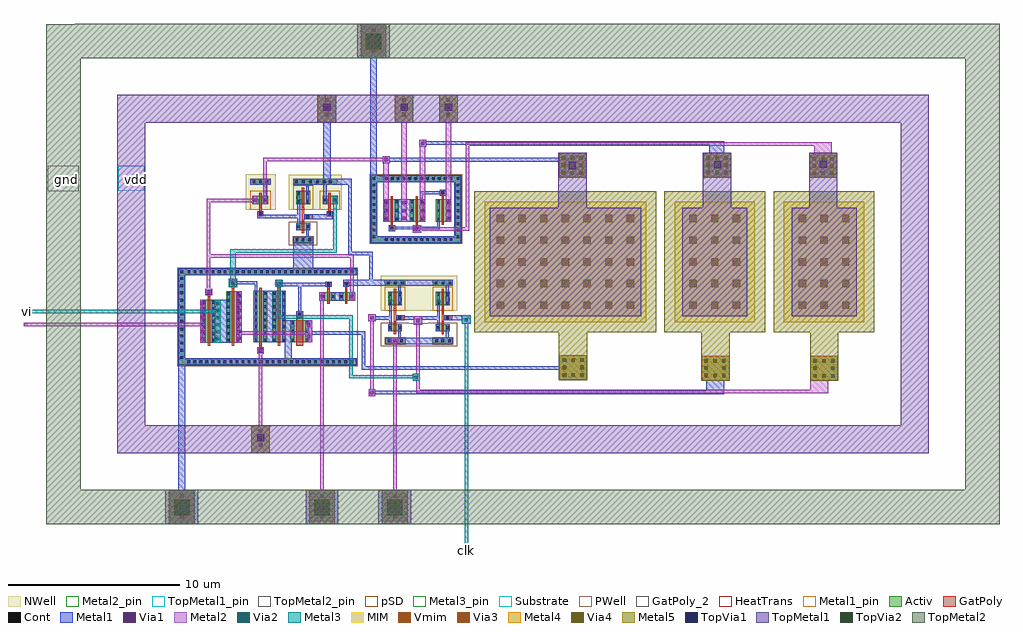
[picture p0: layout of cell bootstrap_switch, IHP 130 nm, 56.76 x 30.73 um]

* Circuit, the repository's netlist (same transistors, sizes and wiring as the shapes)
** sch_path: /home/designer/shared/IHP-AnalogAcademy/modules/module_3_8_bit_SAR_ADC/part_5_analog_layout/bootstrap/schematic/bootstrap_switch.sch
.subckt bootstrap_switch vdd vi vo clk gnd
*.PININFO gnd:B vdd:B vi:B vo:B clk:B
M1 vdd net2 net1 gnd sg13_lv_nmos w=1.3u l=0.13u ng=1 m=1
M3 vdd net1 net2 gnd sg13_lv_nmos w=1.3u l=0.13u ng=1 m=1
M4 net7 net10 net3 net3 sg13_lv_pmos w=500n l=0.13u ng=1 m=1
M2 vdd net2 net3 gnd sg13_lv_nmos w=1.3u l=0.13u ng=1 m=1
M6 net5 gp vdd vdd sg13_lv_pmos w=500n l=130n ng=1 m=1
M5 net5 vdd net4 gnd sg13_lv_nmos w=3u l=0.13u ng=1 m=1
M7 net4 clk_not gnd gnd sg13_lv_nmos w=3u l=0.13u ng=1 m=1
C5 net2 clk_not cap_cmim w=4.665e-6 l=6.99e-6 m=1
C6 net3 net6 cap_cmim w=9.39e-6 l=6.99e-6 m=1
M8 net6 net5 vi gnd sg13_lv_nmos w=3u l=0.13u ng=1 m=1
M9 vo net7 vi gnd sg13_lv_nmos w=2.5u l=0.13u ng=1 m=1
M10 net8 vdd net7 gnd sg13_lv_nmos w=500n l=0.13u ng=1 m=1
M11 gnd clk_not net8 gnd sg13_lv_nmos w=500n l=0.13u ng=1 m=1
M12 net6 clk_not gnd gnd sg13_lv_nmos w=1.3u l=0.4u ng=1 m=1
C1 net1 net9 cap_cmim w=4.665e-6 l=6.99e-6 m=1
x1 vdd clk_not net9 gnd inverter
x2 vdd clk clk_not gnd inverter
x3 vdd gp net10 gnd inverter
.ends

* expanding   symbol:  inverter.sym # of pins=4
** sym_path: /home/designer/shared/IHP-AnalogAcademy/modules/module_3_8_bit_SAR_ADC/part_5_analog_layout/bootstrap/schematic/inverter.sym
** sch_path: /home/designer/shared/IHP-AnalogAcademy/modules/module_3_8_bit_SAR_ADC/part_5_analog_layout/bootstrap/schematic/inverter.sch
.subckt inverter vdd vi vo gnd
*.PININFO vi:B vo:B gnd:B vdd:B
M5 vo vi vdd vdd sg13_lv_pmos w=800n l=130n ng=1 m=1
M7 vo vi gnd gnd sg13_lv_nmos w=400n l=130n ng=1 m=1
.ends

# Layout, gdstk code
from math import pi, radians
import gdstk
lib = gdstk.Library(unit=1e-6, precision=1e-09)
def R(c, l, rs):  # rectangles x0, y0, x1, y1
    for r in rs: c.add(gdstk.rectangle(r[:2], r[2:], *l))
def A(c, l, x, y, w, h, nx, ny, dx, dy):  # array of equal rectangles
    R(c, l, [(x+i*dx, y+j*dy, x+i*dx+w, y+j*dy+h) for i in range(nx) for j in range(ny)])
Activ = (1, 0)
GatPoly = (5, 0)
GatPoly_2 = (5, 2)
Cont = (6, 0)
Metal1 = (8, 0)
Metal1_pin = (8, 2)
Metal2 = (10, 0)
Metal2_pin = (10, 2)
pSD = (14, 0)
Via1 = (19, 0)
Via2 = (29, 0)
Metal3 = (30, 0)
Metal3_pin = (30, 2)
NWell = (31, 0)
MIM = (36, 0)
Substrate = (40, 0)
PWell = (46, 0)
Via3 = (49, 0)
Metal4 = (50, 0)
HeatTrans = (51, 0)
Via4 = (66, 0)
Metal5 = (67, 0)
TopVia1 = (125, 0)
TopMetal1 = (126, 0)
TopMetal1_pin = (126, 2)
Vmim = (129, 0)
TopVia2 = (133, 0)
TopMetal2 = (134, 0)
TopMetal2_pin = (134, 2)

nmos_2 = lib.new_cell('nmos$2')
R(nmos_2, Activ, [(0,0,0.3,0.3), (0,0,0.81,1.3), (0.51,0,0.81,0.3)])
R(nmos_2, GatPoly, [(0.34,-0.18,0.47,1.48)])
R(nmos_2, GatPoly_2, [(0.34,-0.18,0.47,1.48)])
A(nmos_2, Cont, 0.07, 0.07, 0.16, 0.16, 1, 3, 0, 0.5)
A(nmos_2, Cont, 0.58, 0.07, 0.16, 0.16, 1, 3, 0, 0.5)
R(nmos_2, Metal1, [(0.07,0,0.23,1.3), (0.58,0,0.74,1.3)])
R(nmos_2, Metal1_pin, [(0.07,0,0.23,1.3), (0.58,0,0.74,1.3)])
R(nmos_2, HeatTrans, [(0.34,-0.18,0.47,1.48)])
nmos_2.add(gdstk.Label('nmos', (0.405,0.65), layer=63, texttype=0))
nmos_2.add(gdstk.Label('nmos', (0.405,0.65), layer=51, texttype=0))

cmim_1 = lib.new_cell('cmim$1')
R(cmim_1, MIM, [(0,0,4.665,6.99)])
R(cmim_1, Metal5, [(-0.6,-0.6,5.265,7.59)])
R(cmim_1, TopMetal1, [(0.44,0.345,4.22,6.645)])
A(cmim_1, Vmim, 0.86, 0.765, 0.42, 0.42, 3, 5, 1.26, 1.26)

cmim = lib.new_cell('cmim')
R(cmim, MIM, [(0,0,9.39,6.99)])
R(cmim, Metal5, [(-0.6,-0.6,9.99,7.59)])
R(cmim, TopMetal1, [(0.285,0.345,9.105,6.645)])
A(cmim, Vmim, 0.705, 0.765, 0.42, 0.42, 7, 5, 1.26, 1.26)

pmos_3 = lib.new_cell('pmos$3')
R(pmos_3, Activ, [(0,0,0.3,0.3), (0,0,0.81,0.5), (0.51,0,0.81,0.3)])
R(pmos_3, GatPoly, [(0.34,-0.18,0.47,0.68), (0.34,-0.18,0.47,0.68)])
R(pmos_3, Cont, [(0.07,0.17,0.23,0.33), (0.58,0.17,0.74,0.33)])
R(pmos_3, Metal1, [(0.07,0,0.23,0.5), (0.07,0,0.23,0.5), (0.58,0,0.74,0.5), (0.58,0,0.74,0.5)])
R(pmos_3, pSD, [(-0.18,-0.3,0.99,0.8)])
R(pmos_3, NWell, [(-0.31,-0.31,1.12,0.81)])
R(pmos_3, Substrate, [(0.51,0,0.81,0.3)])
R(pmos_3, HeatTrans, [(0.34,-0.18,0.47,0.68)])
pmos_3.add(gdstk.Label('pmos', (0.405,0.25), layer=63, texttype=0))
pmos_3.add(gdstk.Label('pmos', (0.405,0.25), layer=51, texttype=0))

pmos_2 = lib.new_cell('pmos$2')
R(pmos_2, Activ, [(0,0,0.3,0.3), (0,0,0.81,0.5), (0.51,0,0.81,0.3)])
R(pmos_2, GatPoly, [(0.34,-0.18,0.47,0.68), (0.34,-0.18,0.47,0.68)])
R(pmos_2, Cont, [(0.07,0.17,0.23,0.33), (0.58,0.17,0.74,0.33)])
R(pmos_2, Metal1, [(0.07,0,0.23,0.5), (0.07,0,0.23,0.5), (0.58,0,0.74,0.5), (0.58,0,0.74,0.5)])
R(pmos_2, pSD, [(-0.18,-0.3,0.99,0.8)])
R(pmos_2, NWell, [(-0.31,-0.31,1.12,0.81)])
R(pmos_2, Substrate, [(0.51,0,0.81,0.3)])
R(pmos_2, HeatTrans, [(0.34,-0.18,0.47,0.68)])
pmos_2.add(gdstk.Label('pmos', (0.405,0.25), layer=63, texttype=0))
pmos_2.add(gdstk.Label('pmos', (0.405,0.25), layer=51, texttype=0))

inverter2 = lib.new_cell('inverter2')
R(inverter2, Activ, [(24.315,-15.715,25.48,-15.35), (27.095,-15.715,28.26,-15.35), (24.49,-14.965,24.79,-14.665), (24.49,-14.965,25.3,-14.565), (25,-14.965,25.3,-14.665), (27.27,-14.965,27.57,-14.665), (27.27,-14.965,28.08,-14.565), (27.78,-14.965,28.08,-14.665), (24.49,-13.475,25.3,-12.675), (24.49,-13.475,24.79,-13.175), (25,-13.475,25.3,-13.175), (27.27,-13.475,28.08,-12.675), (27.27,-13.475,27.57,-13.175), (27.78,-13.475,28.08,-13.175), (24.31,-12.34,25.48,-11.985), (27.09,-12.34,28.26,-11.985)])
R(inverter2, GatPoly, [(24.83,-15.145,24.96,-14.385), (24.83,-15.145,24.96,-12.495), (27.61,-15.145,27.74,-14.385), (27.61,-15.145,27.74,-12.495), (24.875,-14.34,25.45,-14.035), (27.655,-14.34,28.23,-14.035), (24.83,-13.655,24.96,-12.495), (24.83,-13.655,24.96,-12.495), (27.61,-13.655,27.74,-12.495), (27.61,-13.655,27.74,-12.495)])
R(inverter2, GatPoly_2, [(24.83,-15.145,24.96,-14.385), (27.61,-15.145,27.74,-14.385)])
R(inverter2, Cont, [(24.46,-15.61,24.62,-15.45), (24.815,-15.61,24.975,-15.45), (25.2,-15.61,25.36,-15.45), (27.24,-15.61,27.4,-15.45), (27.595,-15.61,27.755,-15.45), (27.98,-15.61,28.14,-15.45), (24.56,-14.845,24.72,-14.685), (25.07,-14.845,25.23,-14.685), (27.34,-14.845,27.5,-14.685), (27.85,-14.845,28.01,-14.685), (25.09,-14.27,25.25,-14.11), (27.87,-14.27,28.03,-14.11), (24.56,-13.405,24.72,-13.245), (25.07,-13.405,25.23,-13.245), (27.34,-13.405,27.5,-13.245), (27.85,-13.405,28.01,-13.245), (24.56,-12.905,24.72,-12.745), (25.07,-12.905,25.23,-12.745), (27.34,-12.905,27.5,-12.745), (27.85,-12.905,28.01,-12.745), (24.42,-12.24,24.58,-12.08), (24.825,-12.24,24.985,-12.08), (25.24,-12.24,25.4,-12.08), (27.2,-12.24,27.36,-12.08), (27.605,-12.24,27.765,-12.08), (28.02,-12.24,28.18,-12.08)])
R(inverter2, Metal1, [(24.315,-15.715,25.48,-15.35), (24.36,-15.715,28.245,-15.35), (27.095,-15.715,28.26,-15.35), (25.07,-15.555,25.23,-14.79), (27.85,-15.555,28.01,-14.79), (24.49,-14.965,24.72,-14.565), (24.56,-14.965,24.72,-12.675), (24.56,-14.965,24.72,-14.565), (25.07,-14.965,25.3,-14.565), (25.07,-14.965,25.23,-14.565), (27.27,-14.965,27.5,-14.565), (27.34,-14.965,27.5,-12.675), (27.34,-14.965,27.5,-14.565), (27.85,-14.965,28.08,-14.565), (27.85,-14.965,28.01,-14.565), (24.96,-14.34,25.45,-14.035), (27.74,-14.34,28.23,-14.035), (24.11,-14.29,24.72,-14.09), (25.02,-14.29,27.12,-14.09), (26.89,-14.29,27.5,-14.09), (24.56,-13.475,24.72,-12.675), (24.56,-13.475,24.72,-12.675), (25.07,-13.475,25.23,-12.675), (25.07,-13.475,25.23,-12.675), (27.34,-13.475,27.5,-12.675), (27.34,-13.475,27.5,-12.675), (27.85,-13.475,28.01,-12.675), (27.85,-13.475,28.01,-12.675), (25.07,-12.765,25.23,-11.985), (27.85,-12.765,28.01,-11.985), (24.31,-12.34,25.48,-11.985), (24.31,-12.34,28.26,-11.985), (27.09,-12.34,28.26,-11.985)])
R(inverter2, Metal1_pin, [(24.56,-14.965,24.72,-14.565), (25.07,-14.965,25.23,-14.565), (27.34,-14.965,27.5,-14.565), (27.85,-14.965,28.01,-14.565), (25.24,-12.31,25.465,-12.02), (28.02,-12.31,28.245,-12.02)])
R(inverter2, pSD, [(24.285,-15.75,25.51,-15.32), (27.065,-15.75,28.29,-15.32), (24.31,-13.775,25.48,-12.375), (27.09,-13.775,28.26,-12.375)])
R(inverter2, NWell, [(24.055,-13.785,25.73,-11.74), (24.055,-13.785,28.51,-11.74), (24.18,-13.785,25.61,-12.365), (26.835,-13.785,28.51,-11.74), (26.96,-13.785,28.39,-12.365)])
R(inverter2, Substrate, [(24.49,-13.475,24.79,-13.175), (27.27,-13.475,27.57,-13.175)])
R(inverter2, PWell, [(24.055,-15.845,28.505,-14.495), (24.06,-15.84,25.73,-14.49), (26.84,-15.84,28.51,-14.49)])
R(inverter2, HeatTrans, [(24.83,-15.145,24.96,-14.385), (27.61,-15.145,27.74,-14.385), (24.83,-13.655,24.96,-12.495), (27.61,-13.655,27.74,-12.495)])
inverter2.add(gdstk.Label('pmos', (27.675,-13.075), layer=63, texttype=0))
inverter2.add(gdstk.Label('pmos', (24.895,-13.075), layer=63, texttype=0))
inverter2.add(gdstk.Label('nmos', (27.675,-14.765), layer=63, texttype=0))
inverter2.add(gdstk.Label('nmos', (24.895,-14.765), layer=63, texttype=0))
inverter2.add(gdstk.Label('nmos', (27.675,-14.765), layer=51, texttype=0))
inverter2.add(gdstk.Label('nmos', (24.895,-14.765), layer=51, texttype=0))
inverter2.add(gdstk.Label('pmos', (27.675,-13.075), layer=51, texttype=0))
inverter2.add(gdstk.Label('pmos', (24.895,-13.075), layer=51, texttype=0))

pmos = lib.new_cell('pmos')
R(pmos, Activ, [(-12.815,-10.645,-12.515,-10.345), (-12.815,-10.645,-12.005,-9.845), (-12.305,-10.645,-12.005,-10.345)])
R(pmos, GatPoly, [(-12.475,-10.825,-12.345,-9.665), (-12.475,-10.825,-12.345,-9.665)])
R(pmos, Cont, [(-12.745,-10.575,-12.585,-10.415), (-12.235,-10.575,-12.075,-10.415), (-12.745,-10.075,-12.585,-9.915), (-12.235,-10.075,-12.075,-9.915)])
R(pmos, Metal1, [(-12.745,-10.645,-12.585,-9.845), (-12.745,-10.645,-12.585,-9.845), (-12.235,-10.645,-12.075,-9.845), (-12.235,-10.645,-12.075,-9.845)])
R(pmos, pSD, [(-12.995,-10.945,-11.825,-9.545)])
R(pmos, NWell, [(-13.125,-10.955,-11.695,-9.535)])
R(pmos, Substrate, [(-12.815,-10.645,-12.515,-10.345)])
R(pmos, HeatTrans, [(-12.475,-10.825,-12.345,-9.665)])
pmos.add(gdstk.Label('pmos', (-12.41,-10.245), layer=63, texttype=0))
pmos.add(gdstk.Label('pmos', (-12.41,-10.245), layer=51, texttype=0))

nmos_1 = lib.new_cell('nmos$1')
R(nmos_1, Activ, [(-12.815,-10.645,-12.515,-10.345), (-12.815,-10.645,-12.005,-10.245), (-12.305,-10.645,-12.005,-10.345)])
R(nmos_1, GatPoly, [(-12.475,-10.825,-12.345,-10.065)])
R(nmos_1, GatPoly_2, [(-12.475,-10.825,-12.345,-10.065)])
R(nmos_1, Cont, [(-12.745,-10.525,-12.585,-10.365), (-12.235,-10.525,-12.075,-10.365)])
R(nmos_1, Metal1, [(-12.745,-10.645,-12.585,-10.245), (-12.235,-10.645,-12.075,-10.245)])
R(nmos_1, Metal1_pin, [(-12.745,-10.645,-12.585,-10.245), (-12.235,-10.645,-12.075,-10.245)])
R(nmos_1, HeatTrans, [(-12.475,-10.825,-12.345,-10.065)])
nmos_1.add(gdstk.Label('nmos', (-12.41,-10.445), layer=63, texttype=0))
nmos_1.add(gdstk.Label('nmos', (-12.41,-10.445), layer=51, texttype=0))

inverter = lib.new_cell('inverter')
R(inverter, Activ, [(-13.43,-12.57,-12.265,-12.205), (-13.435,-9.195,-12.265,-8.84)])
R(inverter, GatPoly, [(-12.915,-12,-12.785,-9.35), (-12.87,-11.195,-12.295,-10.89)])
R(inverter, Cont, [(-13.285,-12.465,-13.125,-12.305), (-12.93,-12.465,-12.77,-12.305), (-12.545,-12.465,-12.385,-12.305), (-12.655,-11.125,-12.495,-10.965), (-13.325,-9.095,-13.165,-8.935), (-12.92,-9.095,-12.76,-8.935), (-12.505,-9.095,-12.345,-8.935)])
R(inverter, Metal1, [(-13.43,-12.57,-12.265,-12.205), (-12.675,-12.41,-12.515,-11.645), (-13.255,-11.82,-13.025,-11.42), (-13.185,-11.82,-13.025,-9.53), (-12.675,-11.82,-12.445,-11.42), (-12.785,-11.195,-12.295,-10.89), (-13.635,-11.145,-13.025,-10.945), (-12.675,-9.62,-12.515,-8.84), (-13.435,-9.195,-12.265,-8.84)])
R(inverter, Metal1_pin, [(-13.625,-11.14,-13.45,-10.955), (-12.655,-11.125,-12.495,-10.965)])
R(inverter, pSD, [(-13.46,-12.605,-12.235,-12.175)])
R(inverter, NWell, [(-13.69,-10.64,-12.015,-8.595)])
R(inverter, PWell, [(-13.685,-12.695,-12.015,-11.345)])
inverter.add(gdstk.Reference(pmos, (-0.44,0.315)))
inverter.add(gdstk.Reference(nmos_1, (-0.44,-1.175)))

nmos_4 = lib.new_cell('nmos$4')
R(nmos_4, Activ, [(0,0,0.3,0.3), (0,0,0.81,3), (0.51,0,0.81,0.3)])
R(nmos_4, GatPoly, [(0.34,-0.18,0.47,3.18)])
R(nmos_4, GatPoly_2, [(0.34,-0.18,0.47,3.18)])
A(nmos_4, Cont, 0.07, 0.07, 0.16, 0.16, 1, 7, 0, 0.385)
A(nmos_4, Cont, 0.58, 0.07, 0.16, 0.16, 1, 7, 0, 0.385)
R(nmos_4, Cont, [(0.07,2.77,0.23,2.93), (0.58,2.77,0.74,2.93)])
R(nmos_4, Metal1, [(0.07,0,0.23,3), (0.58,0,0.74,3)])
R(nmos_4, Metal1_pin, [(0.07,0,0.23,3), (0.58,0,0.74,3)])
R(nmos_4, HeatTrans, [(0.34,-0.18,0.47,3.18)])
nmos_4.add(gdstk.Label('nmos', (0.405,1.5), layer=63, texttype=0))
nmos_4.add(gdstk.Label('nmos', (0.405,1.5), layer=51, texttype=0))

nmos_3 = lib.new_cell('nmos$3')
R(nmos_3, Activ, [(0,0,0.3,0.3), (0,0,1.08,1.3), (0.78,0,1.08,0.3)])
R(nmos_3, GatPoly, [(0.34,-0.18,0.74,1.48)])
R(nmos_3, GatPoly_2, [(0.34,-0.18,0.74,1.48)])
A(nmos_3, Cont, 0.07, 0.07, 0.16, 0.16, 1, 3, 0, 0.5)
A(nmos_3, Cont, 0.85, 0.07, 0.16, 0.16, 1, 3, 0, 0.5)
R(nmos_3, Metal1, [(0.07,0,0.23,1.3), (0.85,0,1.01,1.3)])
R(nmos_3, Metal1_pin, [(0.07,0,0.23,1.3), (0.85,0,1.01,1.3)])
R(nmos_3, HeatTrans, [(0.34,-0.18,0.74,1.48)])
nmos_3.add(gdstk.Label('nmos', (0.54,0.65), layer=63, texttype=0))
nmos_3.add(gdstk.Label('nmos', (0.54,0.65), layer=51, texttype=0))

nmos_5 = lib.new_cell('nmos$5')
R(nmos_5, Activ, [(0,0,0.3,0.3), (0,0,0.81,0.5), (0.51,0,0.81,0.3)])
R(nmos_5, GatPoly, [(0.34,-0.18,0.47,0.68)])
R(nmos_5, GatPoly_2, [(0.34,-0.18,0.47,0.68)])
R(nmos_5, Cont, [(0.07,0.17,0.23,0.33), (0.58,0.17,0.74,0.33)])
R(nmos_5, Metal1, [(0.07,0,0.23,0.5), (0.58,0,0.74,0.5)])
R(nmos_5, Metal1_pin, [(0.07,0,0.23,0.5), (0.58,0,0.74,0.5)])
R(nmos_5, HeatTrans, [(0.34,-0.18,0.47,0.68)])
nmos_5.add(gdstk.Label('nmos', (0.405,0.25), layer=63, texttype=0))
nmos_5.add(gdstk.Label('nmos', (0.405,0.25), layer=51, texttype=0))

nmos_7 = lib.new_cell('nmos$7')
R(nmos_7, Activ, [(0,0,0.3,0.3), (0,0,0.81,2.5), (0.51,0,0.81,0.3)])
R(nmos_7, GatPoly, [(0.34,-0.18,0.47,2.68)])
R(nmos_7, GatPoly_2, [(0.34,-0.18,0.47,2.68)])
A(nmos_7, Cont, 0.07, 0.07, 0.16, 0.16, 1, 3, 0, 0.365)
A(nmos_7, Cont, 0.58, 0.07, 0.16, 0.16, 1, 3, 0, 0.365)
A(nmos_7, Cont, 0.07, 1.17, 0.16, 0.16, 1, 3, 0, 0.365)
A(nmos_7, Cont, 0.58, 1.17, 0.16, 0.16, 1, 3, 0, 0.365)
R(nmos_7, Cont, [(0.07,2.27,0.23,2.43), (0.58,2.27,0.74,2.43)])
R(nmos_7, Metal1, [(0.07,0,0.23,2.5), (0.58,0,0.74,2.5)])
R(nmos_7, Metal1_pin, [(0.07,0,0.23,2.5), (0.58,0,0.74,2.5)])
R(nmos_7, HeatTrans, [(0.34,-0.18,0.47,2.68)])
nmos_7.add(gdstk.Label('nmos', (0.405,1.25), layer=63, texttype=0))
nmos_7.add(gdstk.Label('nmos', (0.405,1.25), layer=51, texttype=0))

bootstrap_switch = lib.new_cell('bootstrap_switch')
R(bootstrap_switch, Activ, [(2.32,-10.075,2.66,-4.5), (2.64,-10.075,2.715,-9.735), (2.705,-10.075,12.635,-9.735), (2.64,-4.84,2.74,-4.5), (2.72,-4.84,12.65,-4.5), (13.495,-2.97,13.835,0.92), (13.655,-2.97,13.985,-2.63), (13.89,-2.97,18.33,-2.63), (18.11,-2.97,18.72,-2.63), (18.38,-2.97,18.72,0.92), (6.465,0.385,7.65,0.74), (8.96,0.385,11.535,0.74), (13.56,0.58,14.01,0.92), (13.89,0.58,18.33,0.92), (18.27,0.58,18.72,0.92)])
R(bootstrap_switch, GatPoly, [(6.89,-9.4,7.25,-9.1), (7,-9.205,7.13,-8.95), (9.15,-7.31,9.55,-6.96), (4.005,-6.115,4.135,-5.86), (3.885,-6,4.245,-5.7), (10.955,-5.685,11.085,-5.43), (11.985,-5.685,12.115,-5.43), (5.405,-5.62,5.535,-5.355), (8.08,-5.615,8.21,-5.36), (5.22,-5.58,5.72,-5.16), (7.97,-5.54,8.33,-5.24), (10.845,-5.54,11.205,-5.24), (11.88,-5.535,12.24,-5.235), (14.525,-2.3,14.895,-1.95), (15.98,-2.3,16.35,-1.95), (14.64,-2.155,14.77,-1.925), (16.095,-2.155,16.225,-1.925), (6.89,-1.44,7.24,-1.14), (10.91,-1.44,11.26,-1.14), (11.02,-1.34,11.15,-0.915), (7,-1.33,7.13,-0.905), (17.605,-0.28,17.735,-0.05), (17.49,-0.25,17.86,0.1)])
A(bootstrap_switch, Cont, 3.86, -9.985, 0.16, 0.16, 3, 1, 0.355, 0)
A(bootstrap_switch, Cont, 5.965, -9.985, 0.16, 0.16, 4, 1, 0.355, 0)
A(bootstrap_switch, Cont, 7.72, -9.985, 0.16, 0.16, 4, 1, 0.355, 0)
A(bootstrap_switch, Cont, 9.475, -9.985, 0.16, 0.16, 4, 1, 0.355, 0)
A(bootstrap_switch, Cont, 11.23, -9.985, 0.16, 0.16, 4, 1, 0.355, 0)
A(bootstrap_switch, Cont, 2.415, -9.73, 0.16, 0.16, 1, 3, 0, 0.42)
A(bootstrap_switch, Cont, 3.875, -4.75, 0.16, 0.16, 3, 1, 0.355, 0)
A(bootstrap_switch, Cont, 5.98, -4.75, 0.16, 0.16, 4, 1, 0.355, 0)
A(bootstrap_switch, Cont, 7.735, -4.75, 0.16, 0.16, 4, 1, 0.355, 0)
A(bootstrap_switch, Cont, 9.49, -4.75, 0.16, 0.16, 4, 1, 0.355, 0)
A(bootstrap_switch, Cont, 11.245, -4.75, 0.16, 0.16, 4, 1, 0.355, 0)
A(bootstrap_switch, Cont, 14.99, -2.875, 0.16, 0.16, 3, 2, 0.34, 3.55)
A(bootstrap_switch, Cont, 15.67, -2.875, 0.16, 0.16, 3, 2, 0.345, 3.55)
A(bootstrap_switch, Cont, 17.045, -2.875, 0.16, 0.16, 3, 2, 0.34, 3.55)
A(bootstrap_switch, Cont, 13.59, -2.325, 0.16, 0.16, 1, 3, 0, 0.375)
A(bootstrap_switch, Cont, 18.475, -2.325, 0.16, 0.16, 1, 3, 0, 0.375)
A(bootstrap_switch, Cont, 13.59, -1.205, 0.16, 0.16, 1, 3, 0, 0.375)
A(bootstrap_switch, Cont, 18.475, -1.205, 0.16, 0.16, 1, 3, 0, 0.375)
A(bootstrap_switch, Cont, 13.59, -0.075, 0.16, 0.16, 1, 3, 0, 0.375)
A(bootstrap_switch, Cont, 18.475, -0.075, 0.16, 0.16, 1, 3, 0, 0.375)
R(bootstrap_switch, Cont, [(2.81,-9.985,2.97,-9.825), (3.165,-9.985,3.325,-9.825), (3.515,-9.985,3.675,-9.825), (3.515,-9.985,3.675,-9.825), (4.915,-9.985,5.075,-9.825), (5.27,-9.985,5.43,-9.825), (5.62,-9.985,5.78,-9.825), (5.62,-9.985,5.78,-9.825), (7.375,-9.985,7.535,-9.825), (7.375,-9.985,7.535,-9.825), (9.13,-9.985,9.29,-9.825), (9.13,-9.985,9.29,-9.825), (10.885,-9.985,11.045,-9.825), (10.885,-9.985,11.045,-9.825), (6.99,-9.33,7.15,-9.17), (2.415,-8.48,2.575,-8.32), (2.415,-8.085,2.575,-7.925), (2.415,-7.625,2.575,-7.465), (2.415,-7.205,2.575,-7.045), (9.265,-7.2,9.425,-7.04), (2.415,-6.795,2.575,-6.635), (2.415,-6.4,2.575,-6.24), (2.415,-5.975,2.575,-5.815), (3.985,-5.93,4.145,-5.77), (2.415,-5.555,2.575,-5.395), (8.065,-5.47,8.225,-5.31), (10.945,-5.47,11.105,-5.31), (11.97,-5.465,12.13,-5.305), (5.39,-5.43,5.55,-5.27), (2.415,-5.145,2.575,-4.985), (2.415,-4.75,2.575,-4.59), (2.825,-4.75,2.985,-4.59), (3.18,-4.75,3.34,-4.59), (3.53,-4.75,3.69,-4.59), (3.53,-4.75,3.69,-4.59), (4.93,-4.75,5.09,-4.59), (5.285,-4.75,5.445,-4.59), (5.635,-4.75,5.795,-4.59), (5.635,-4.75,5.795,-4.59), (7.39,-4.75,7.55,-4.59), (7.39,-4.75,7.55,-4.59), (9.145,-4.75,9.305,-4.59), (9.145,-4.75,9.305,-4.59), (10.9,-4.75,11.06,-4.59), (10.9,-4.75,11.06,-4.59), (14.305,-2.875,14.465,-2.715), (14.645,-2.875,14.805,-2.715), (14.645,-2.875,14.805,-2.715), (16.7,-2.875,16.86,-2.715), (16.7,-2.875,16.86,-2.715), (17.725,-2.875,17.885,-2.715), (18.07,-2.875,18.23,-2.715), (13.59,-2.705,13.75,-2.545), (18.475,-2.705,18.635,-2.545), (14.625,-2.205,14.785,-2.045), (16.08,-2.205,16.24,-2.045), (6.985,-1.37,7.145,-1.21), (11.005,-1.37,11.165,-1.21), (17.59,-0.15,17.75,0.01), (6.605,0.485,6.765,0.645), (6.985,0.485,7.145,0.645), (7.35,0.485,7.51,0.645), (10.3,0.485,10.46,0.645), (10.69,0.485,10.85,0.645), (11.045,0.485,11.205,0.645), (14.305,0.675,14.465,0.835), (14.645,0.675,14.805,0.835), (14.645,0.675,14.805,0.835), (16.7,0.675,16.86,0.835), (16.7,0.675,16.86,0.835), (17.725,0.675,17.885,0.835), (18.07,0.675,18.23,0.835)])
R(bootstrap_switch, Metal1, [(1.745,-19.355,3.245,-17.355), (2.29,-19.35,2.69,-9.705), (13.355,-11.895,13.755,-11.5), (13.355,-11.8,34.045,-11.6), (32.99,-11.8,34.045,-10.1), (32.715,-11.01,34.35,-9.56), (39.035,-11.01,40.67,-9.56), (24.43,-10.985,26.065,-9.535), (12.97,-10.375,13.17,-8.125), (13.065,-10.375,26.065,-10.175), (2.29,-10.105,2.69,-4.47), (2.67,-10.105,12.67,-9.705), (8.48,-10.105,8.88,-8.38), (6.89,-9.4,7.25,-9.1), (3.555,-8.79,3.895,-6.29), (4.245,-8.79,5.295,-6.29), (4.42,-8.79,4.76,-6.29), (5.645,-8.79,5.99,-5.79), (7.24,-8.78,7.97,-5.78), (8.32,-8.78,9.04,-7.48), (9.66,-8.78,10.09,-7.48), (9.66,-8.325,13.17,-8.125), (15.975,-7.755,16.48,-7.245), (18.785,-7.7,19.29,-7.19), (13.34,-7.55,13.77,-7.13), (17.735,-7.495,19.29,-7.19), (13.385,-7.445,14.285,-7.245), (9.15,-7.3,9.55,-6.96), (10.48,-6.35,10.845,-5.85), (10.615,-6.35,10.845,-5.85), (11.195,-6.35,11.875,-5.85), (12.225,-6.35,12.455,-5.85), (12.225,-6.35,12.59,-5.85), (6.73,-6.01,6.89,-5.225), (3.885,-6,4.245,-5.7), (5.22,-5.545,5.72,-5.16), (5.22,-5.545,5.72,-5.085), (7.935,-5.54,8.365,-5.12), (7.97,-5.54,8.33,-5.24), (10.845,-5.54,11.205,-5.24), (11.88,-5.535,12.24,-5.235), (9.25,-5.505,11.105,-5.305), (11.88,-5.495,14.645,-5.14), (13.405,-5.495,13.605,-3.5), (5.37,-5.4,6.89,-5.225), (2.685,-4.87,12.685,-4.47), (8.965,-4.87,10.13,-2.625), (12.18,-3.7,12.38,0.74), (12.19,-3.7,13.605,-3.5), (13.465,-3,13.865,0.95), (13.86,-3,18.36,-2.6), (18.35,-3,18.75,0.95), (14.525,-2.3,14.895,-1.95), (15.98,-2.3,16.35,-1.95), (14.75,-2.21,16.195,-2.05), (16.05,-2.205,17.495,-2.045), (17.335,-2.16,17.495,-1.64), (14.23,-1.75,14.49,-0.45), (14.88,-1.75,15.985,-0.45), (16.4,-1.75,16.66,-0.45), (17.905,-1.75,18.165,-0.45), (9.74,-1.615,11.26,-1.31), (6.89,-1.565,8.95,-1.365), (6.89,-1.44,7.24,-1.14), (10.91,-1.44,11.26,-1.14), (6.6,-0.75,6.89,-0.25), (7.24,-0.75,7.47,-0.25), (10.705,-0.75,10.91,-0.25), (11.26,-0.75,11.455,-0.25), (11.26,-0.75,11.55,-0.25), (16.335,-0.52,16.495,0), (10.705,-0.41,10.91,0.74), (7.24,-0.395,7.47,0.74), (17.49,-0.25,17.86,0.1), (16.335,-0.16,17.78,0), (6.465,0.385,7.65,0.74), (8.96,0.385,11.535,0.74), (10.705,0.385,11.15,5.64), (11.355,0.385,12.38,0.74), (13.86,0.55,18.36,0.95), (13.465,0.565,13.82,9.745), (24.4,0.795,26.035,2.245), (38.98,0.8,40.615,2.25), (32.805,0.805,34.44,2.255), (14.17,1.645,14.57,2.04), (14.17,1.725,24.83,1.95), (33.165,2.15,34.035,2.915), (16.3,2.61,16.7,3.005), (16.405,2.715,34.035,2.915), (10.38,4,11.47,5.64), (12.89,7.75,14.39,9.75)])
R(bootstrap_switch, Metal2, [(1.745,-19.355,3.245,-17.355), (14.13,-19.355,15.63,-17.355), (9.895,-19.35,11.395,-17.35), (10.555,-19.35,10.755,-6.005), (14.785,-19.35,14.985,-8.59), (6.53,-15.22,7.62,-13.58), (6.97,-15.22,7.17,-9.155), (13.355,-11.895,13.755,-11.5), (13.455,-11.725,13.655,-7.13), (16.12,-11.725,40.09,-11.525), (16.12,-11.725,16.32,-7.56), (39.035,-11.725,40.09,-10.495), (32.715,-11.01,34.35,-9.56), (39.035,-11.01,40.67,-9.56), (15.92,-11.005,16.32,-10.61), (24.43,-10.985,26.065,-9.535), (6.87,-9.43,7.27,-9.07), (14.685,-8.87,15.09,-8.505), (3.555,-8.79,3.895,-6.29), (4.42,-8.79,4.76,-6.29), (5.645,-8.79,5.99,-5.79), (9.66,-8.78,10.09,-7.48), (5.645,-8.325,10.09,-8.125), (-6.69,-7.845,3.825,-7.645), (15.975,-7.755,16.48,-7.245), (18.785,-7.7,19.29,-7.19), (13.34,-7.55,13.77,-7.13), (10.48,-6.35,10.845,-5.85), (12.225,-6.35,12.59,-5.85), (12.3,-6.205,12.5,-3.64), (3.865,-6.03,4.265,-5.67), (3.95,-5.94,4.15,-0.425), (5.22,-5.545,5.72,-5.085), (7.935,-5.54,8.365,-5.12), (3.95,-3.84,12.5,-3.64), (15.91,-2.4,16.41,-1.97), (16.045,-2.285,19.04,-2.085), (19.005,-2.285,19.205,2.715), (14.205,-1.75,14.53,1.89), (14.23,-1.75,14.53,-0.45), (15.265,-1.75,15.585,-0.45), (16.34,-1.75,16.66,-0.45), (17.845,-1.75,18.165,-0.45), (15.265,-0.84,15.585,5.64), (17.84,-0.84,18.16,5.64), (6.6,-0.75,6.89,-0.25), (7.205,-0.75,7.505,-0.25), (11.26,-0.75,11.55,-0.25), (16.335,-0.635,16.66,3.005), (3.95,-0.62,6.845,-0.42), (7.24,-0.585,7.44,1.95), (24.4,0.795,26.035,2.245), (38.98,0.8,40.615,2.25), (32.805,0.805,34.44,2.255), (14.17,1.645,14.57,2.04), (7.24,1.75,14.46,1.95), (39.275,1.77,40.275,2.87), (16.3,2.61,16.7,3.005), (19.005,2.67,40.275,2.87), (10.38,4,11.47,5.64), (14.875,4,15.965,5.64), (17.45,4,18.54,5.64), (12.89,7.75,14.39,9.75)])
R(bootstrap_switch, Metal2_pin, [(-6.685,-7.835,-6.5,-7.65)])
R(bootstrap_switch, pSD, [(2.29,-10.105,2.69,-4.47), (2.67,-10.105,12.67,-9.705), (2.685,-4.87,12.685,-4.47), (13.465,-3,13.865,0.95), (13.86,-3,18.36,-2.6), (18.35,-3,18.75,0.95), (13.86,0.55,18.36,0.95)])
A(bootstrap_switch, Via1, 3.625, -8.66, 0.19, 0.19, 1, 6, 0, 0.41)
A(bootstrap_switch, Via1, 4.49, -8.66, 0.19, 0.19, 1, 6, 0, 0.41)
A(bootstrap_switch, Via1, 5.725, -8.635, 0.19, 0.19, 1, 7, 0, 0.41)
R(bootstrap_switch, Via1, [(2.405,-18.995,2.595,-18.805), (2.405,-18.395,2.595,-18.205), (2.405,-17.82,2.595,-17.63), (13.465,-11.795,13.655,-11.605), (39.235,-10.805,39.425,-10.615), (39.75,-10.805,39.94,-10.615), (40.255,-10.805,40.445,-10.615), (32.9,-10.8,33.09,-10.61), (33.415,-10.8,33.605,-10.61), (33.92,-10.8,34.11,-10.61), (24.645,-10.765,24.835,-10.575), (25.16,-10.765,25.35,-10.575), (25.665,-10.765,25.855,-10.575), (40.255,-10.37,40.445,-10.18), (33.92,-10.365,34.11,-10.175), (39.235,-10.365,39.425,-10.175), (32.9,-10.36,33.09,-10.17), (25.665,-10.33,25.855,-10.14), (24.645,-10.325,24.835,-10.135), (39.235,-9.955,39.425,-9.765), (39.755,-9.955,39.945,-9.765), (40.255,-9.955,40.445,-9.765), (32.9,-9.95,33.09,-9.76), (33.42,-9.95,33.61,-9.76), (33.92,-9.95,34.11,-9.76), (24.645,-9.915,24.835,-9.725), (25.165,-9.915,25.355,-9.725), (25.665,-9.915,25.855,-9.725), (6.975,-9.345,7.165,-9.155), (14.795,-8.78,14.985,-8.59), (9.78,-8.525,9.97,-8.335), (9.78,-7.86,9.97,-7.67), (16.125,-7.59,16.315,-7.4), (18.945,-7.55,19.135,-7.36), (13.465,-7.435,13.655,-7.245), (10.56,-6.195,10.75,-6.005), (12.31,-6.195,12.5,-6.005), (3.97,-5.945,4.16,-5.755), (5.375,-5.43,5.565,-5.24), (8.055,-5.425,8.245,-5.235), (16.05,-2.235,16.24,-2.045), (14.275,-1.65,14.465,-1.46), (15.325,-1.65,15.515,-1.46), (16.4,-1.65,16.59,-1.46), (17.905,-1.65,18.095,-1.46), (15.325,-1.21,15.515,-1.02), (16.4,-1.21,16.59,-1.02), (17.905,-1.21,18.095,-1.02), (14.28,-1.195,14.47,-1.005), (15.325,-0.745,15.515,-0.555), (16.4,-0.745,16.59,-0.555), (17.905,-0.745,18.095,-0.555), (14.28,-0.735,14.47,-0.545), (6.65,-0.6,6.84,-0.41), (7.26,-0.595,7.45,-0.405), (11.305,-0.595,11.495,-0.405), (39.18,0.96,39.37,1.15), (39.695,0.96,39.885,1.15), (40.2,0.96,40.39,1.15), (24.59,1,24.78,1.19), (25.105,1,25.295,1.19), (25.61,1,25.8,1.19), (33.015,1.005,33.205,1.195), (33.53,1.005,33.72,1.195), (34.035,1.005,34.225,1.195), (40.2,1.395,40.39,1.585), (39.18,1.4,39.37,1.59), (25.61,1.435,25.8,1.625), (24.59,1.44,24.78,1.63), (34.035,1.44,34.225,1.63), (33.015,1.445,33.205,1.635), (14.27,1.76,14.46,1.95), (39.18,1.81,39.37,2), (39.7,1.81,39.89,2), (40.2,1.81,40.39,2), (24.59,1.85,24.78,2.04), (25.11,1.85,25.3,2.04), (25.61,1.85,25.8,2.04), (33.015,1.855,33.205,2.045), (33.535,1.855,33.725,2.045), (34.035,1.855,34.225,2.045), (16.405,2.715,16.595,2.905), (10.825,4.38,11.015,4.57), (10.825,4.8,11.015,4.99), (10.825,5.21,11.015,5.4), (13.55,8.11,13.74,8.3), (13.55,8.71,13.74,8.9), (13.55,9.285,13.74,9.475)])
A(bootstrap_switch, Via2, 4.49, -8.66, 0.19, 0.19, 1, 6, 0, 0.41)
R(bootstrap_switch, Via2, [(2.405,-18.995,2.595,-18.805), (14.79,-18.995,14.98,-18.805), (10.555,-18.99,10.745,-18.8), (2.405,-18.395,2.595,-18.205), (14.79,-18.395,14.98,-18.205), (10.555,-18.39,10.745,-18.2), (2.405,-17.82,2.595,-17.63), (14.79,-17.82,14.98,-17.63), (10.555,-17.815,10.745,-17.625), (6.975,-14.84,7.165,-14.65), (6.975,-14.42,7.165,-14.23), (6.975,-14.01,7.165,-13.82), (16.02,-10.9,16.21,-10.71), (39.235,-10.805,39.425,-10.615), (39.75,-10.805,39.94,-10.615), (40.255,-10.805,40.445,-10.615), (32.9,-10.8,33.09,-10.61), (33.415,-10.8,33.605,-10.61), (33.92,-10.8,34.11,-10.61), (24.645,-10.765,24.835,-10.575), (25.16,-10.765,25.35,-10.575), (25.665,-10.765,25.855,-10.575), (40.255,-10.37,40.445,-10.18), (33.92,-10.365,34.11,-10.175), (39.235,-10.365,39.425,-10.175), (32.9,-10.36,33.09,-10.17), (25.665,-10.33,25.855,-10.14), (24.645,-10.325,24.835,-10.135), (39.235,-9.955,39.425,-9.765), (39.755,-9.955,39.945,-9.765), (40.255,-9.955,40.445,-9.765), (32.9,-9.95,33.09,-9.76), (33.42,-9.95,33.61,-9.76), (33.92,-9.95,34.11,-9.76), (24.645,-9.915,24.835,-9.725), (25.165,-9.915,25.355,-9.725), (25.665,-9.915,25.855,-9.725), (18.945,-7.55,19.135,-7.36), (5.375,-5.43,5.565,-5.24), (8.055,-5.425,8.245,-5.235), (11.305,-0.595,11.495,-0.405), (39.18,0.96,39.37,1.15), (39.695,0.96,39.885,1.15), (40.2,0.96,40.39,1.15), (24.59,1,24.78,1.19), (25.105,1,25.295,1.19), (25.61,1,25.8,1.19), (33.015,1.005,33.205,1.195), (33.53,1.005,33.72,1.195), (34.035,1.005,34.225,1.195), (40.2,1.395,40.39,1.585), (39.18,1.4,39.37,1.59), (25.61,1.435,25.8,1.625), (24.59,1.44,24.78,1.63), (34.035,1.44,34.225,1.63), (33.015,1.445,33.205,1.635), (39.18,1.81,39.37,2), (39.7,1.81,39.89,2), (40.2,1.81,40.39,2), (24.59,1.85,24.78,2.04), (25.11,1.85,25.3,2.04), (25.61,1.85,25.8,2.04), (33.015,1.855,33.205,2.045), (33.535,1.855,33.725,2.045), (34.035,1.855,34.225,2.045), (10.825,4.38,11.015,4.57), (15.32,4.38,15.51,4.57), (17.895,4.38,18.085,4.57), (10.825,4.8,11.015,4.99), (15.32,4.8,15.51,4.99), (17.895,4.8,18.085,4.99), (10.825,5.21,11.015,5.4), (15.32,5.21,15.51,5.4), (17.895,5.21,18.085,5.4), (13.55,8.11,13.74,8.3), (13.55,8.71,13.74,8.9), (13.55,9.285,13.74,9.475)])
R(bootstrap_switch, Metal3, [(18.94,-20.98,19.14,-7.355), (1.745,-19.355,3.245,-17.355), (14.13,-19.355,15.63,-17.355), (9.895,-19.35,11.395,-17.35), (6.53,-15.22,7.62,-13.58), (32.715,-11.01,34.35,-9.56), (39.035,-11.01,40.67,-9.56), (15.92,-11.005,16.32,-10.61), (24.43,-10.985,26.065,-9.535), (12.23,-10.875,16.32,-10.675), (12.23,-10.875,12.43,-7.21), (4.42,-8.79,4.76,-6.29), (18.785,-7.7,19.29,-7.19), (8.05,-7.41,12.43,-7.21), (8.05,-7.41,8.25,-5.21), (-6.715,-7.075,4.68,-6.875), (5.22,-5.545,5.72,-5.085), (7.935,-5.54,8.365,-5.12), (5.32,-5.505,5.62,-3.36), (5.32,-3.56,11.505,-3.36), (11.305,-3.56,11.505,-0.65), (11.26,-0.75,11.55,-0.25), (24.4,0.795,26.035,2.245), (38.98,0.8,40.615,2.25), (32.805,0.805,34.44,2.255), (10.38,4,11.47,5.64), (14.875,4,15.965,5.64), (17.45,4,18.54,5.64), (12.89,7.75,14.39,9.75)])
R(bootstrap_switch, Metal3_pin, [(18.955,-20.975,19.125,-20.78), (-6.69,-7.06,-6.49,-6.885)])
R(bootstrap_switch, NWell, [(6.205,-1.06,7.955,1), (8.705,-1.06,11.8,0.985)])
R(bootstrap_switch, PWell, [(2.235,-10.16,12.71,-4.445), (13.41,-3.05,18.795,1)])
R(bootstrap_switch, Via3, [(2.405,-18.995,2.595,-18.805), (14.79,-18.995,14.98,-18.805), (10.555,-18.99,10.745,-18.8), (2.405,-18.395,2.595,-18.205), (14.79,-18.395,14.98,-18.205), (10.555,-18.39,10.745,-18.2), (2.405,-17.82,2.595,-17.63), (14.79,-17.82,14.98,-17.63), (10.555,-17.815,10.745,-17.625), (6.975,-14.84,7.165,-14.65), (6.975,-14.42,7.165,-14.23), (6.975,-14.01,7.165,-13.82), (39.235,-10.805,39.425,-10.615), (39.75,-10.805,39.94,-10.615), (40.255,-10.805,40.445,-10.615), (32.9,-10.8,33.09,-10.61), (33.415,-10.8,33.605,-10.61), (33.92,-10.8,34.11,-10.61), (24.645,-10.765,24.835,-10.575), (25.16,-10.765,25.35,-10.575), (25.665,-10.765,25.855,-10.575), (40.255,-10.37,40.445,-10.18), (33.92,-10.365,34.11,-10.175), (39.235,-10.365,39.425,-10.175), (32.9,-10.36,33.09,-10.17), (25.665,-10.33,25.855,-10.14), (24.645,-10.325,24.835,-10.135), (39.235,-9.955,39.425,-9.765), (39.755,-9.955,39.945,-9.765), (40.255,-9.955,40.445,-9.765), (32.9,-9.95,33.09,-9.76), (33.42,-9.95,33.61,-9.76), (33.92,-9.95,34.11,-9.76), (24.645,-9.915,24.835,-9.725), (25.165,-9.915,25.355,-9.725), (25.665,-9.915,25.855,-9.725), (39.18,0.96,39.37,1.15), (39.695,0.96,39.885,1.15), (40.2,0.96,40.39,1.15), (24.59,1,24.78,1.19), (25.105,1,25.295,1.19), (25.61,1,25.8,1.19), (33.015,1.005,33.205,1.195), (33.53,1.005,33.72,1.195), (34.035,1.005,34.225,1.195), (40.2,1.395,40.39,1.585), (39.18,1.4,39.37,1.59), (25.61,1.435,25.8,1.625), (24.59,1.44,24.78,1.63), (34.035,1.44,34.225,1.63), (33.015,1.445,33.205,1.635), (39.18,1.81,39.37,2), (39.7,1.81,39.89,2), (40.2,1.81,40.39,2), (24.59,1.85,24.78,2.04), (25.11,1.85,25.3,2.04), (25.61,1.85,25.8,2.04), (33.015,1.855,33.205,2.045), (33.535,1.855,33.725,2.045), (34.035,1.855,34.225,2.045), (10.825,4.38,11.015,4.57), (15.32,4.38,15.51,4.57), (17.895,4.38,18.085,4.57), (10.825,4.8,11.015,4.99), (15.32,4.8,15.51,4.99), (17.895,4.8,18.085,4.99), (10.825,5.21,11.015,5.4), (15.32,5.21,15.51,5.4), (17.895,5.21,18.085,5.4), (13.55,8.11,13.74,8.3), (13.55,8.71,13.74,8.9), (13.55,9.285,13.74,9.475)])
R(bootstrap_switch, Metal4, [(1.745,-19.355,3.245,-17.355), (14.13,-19.355,15.63,-17.355), (9.895,-19.35,11.395,-17.35), (6.53,-15.22,7.62,-13.58), (32.715,-11.01,34.35,-9.56), (32.715,-11.01,34.35,-9.56), (39.035,-11.01,40.67,-9.56), (39.035,-11.01,40.67,-9.56), (24.43,-10.985,26.065,-9.535), (24.43,-10.985,26.065,-9.535), (24.4,0.795,26.035,2.245), (38.98,0.8,40.615,2.25), (38.98,0.8,40.615,2.25), (32.805,0.805,34.44,2.255), (10.38,4,11.47,5.64), (14.875,4,15.965,5.64), (17.45,4,18.54,5.64), (12.89,7.75,14.39,9.75)])
R(bootstrap_switch, Via4, [(2.405,-18.995,2.595,-18.805), (14.79,-18.995,14.98,-18.805), (10.555,-18.99,10.745,-18.8), (2.405,-18.395,2.595,-18.205), (14.79,-18.395,14.98,-18.205), (10.555,-18.39,10.745,-18.2), (2.405,-17.82,2.595,-17.63), (14.79,-17.82,14.98,-17.63), (10.555,-17.815,10.745,-17.625), (6.975,-14.84,7.165,-14.65), (6.975,-14.42,7.165,-14.23), (6.975,-14.01,7.165,-13.82), (39.235,-10.805,39.425,-10.615), (39.75,-10.805,39.94,-10.615), (40.255,-10.805,40.445,-10.615), (32.9,-10.8,33.09,-10.61), (33.415,-10.8,33.605,-10.61), (33.92,-10.8,34.11,-10.61), (24.645,-10.765,24.835,-10.575), (25.16,-10.765,25.35,-10.575), (25.665,-10.765,25.855,-10.575), (40.255,-10.37,40.445,-10.18), (33.92,-10.365,34.11,-10.175), (39.235,-10.365,39.425,-10.175), (32.9,-10.36,33.09,-10.17), (25.665,-10.33,25.855,-10.14), (24.645,-10.325,24.835,-10.135), (39.235,-9.955,39.425,-9.765), (39.755,-9.955,39.945,-9.765), (40.255,-9.955,40.445,-9.765), (32.9,-9.95,33.09,-9.76), (33.42,-9.95,33.61,-9.76), (33.92,-9.95,34.11,-9.76), (24.645,-9.915,24.835,-9.725), (25.165,-9.915,25.355,-9.725), (25.665,-9.915,25.855,-9.725), (39.18,0.96,39.37,1.15), (39.695,0.96,39.885,1.15), (40.2,0.96,40.39,1.15), (24.59,1,24.78,1.19), (25.105,1,25.295,1.19), (25.61,1,25.8,1.19), (33.015,1.005,33.205,1.195), (33.53,1.005,33.72,1.195), (34.035,1.005,34.225,1.195), (40.2,1.395,40.39,1.585), (39.18,1.4,39.37,1.59), (25.61,1.435,25.8,1.625), (24.59,1.44,24.78,1.63), (34.035,1.44,34.225,1.63), (33.015,1.445,33.205,1.635), (39.18,1.81,39.37,2), (39.7,1.81,39.89,2), (40.2,1.81,40.39,2), (24.59,1.85,24.78,2.04), (25.11,1.85,25.3,2.04), (25.61,1.85,25.8,2.04), (33.015,1.855,33.205,2.045), (33.535,1.855,33.725,2.045), (34.035,1.855,34.225,2.045), (10.825,4.38,11.015,4.57), (15.32,4.38,15.51,4.57), (17.895,4.38,18.085,4.57), (10.825,4.8,11.015,4.99), (15.32,4.8,15.51,4.99), (17.895,4.8,18.085,4.99), (10.825,5.21,11.015,5.4), (15.32,5.21,15.51,5.4), (17.895,5.21,18.085,5.4), (13.55,8.11,13.74,8.3), (13.55,8.71,13.74,8.9), (13.55,9.285,13.74,9.475)])
R(bootstrap_switch, Metal5, [(1.745,-19.355,3.245,-17.355), (14.13,-19.355,15.63,-17.355), (9.895,-19.35,11.395,-17.35), (6.53,-15.22,7.62,-13.58), (32.71,-11.01,34.35,-7.305), (39.03,-11.01,40.67,-7.305), (24.425,-10.985,26.065,-7.28), (24.4,0.795,26.035,2.245), (38.98,0.8,40.615,2.25), (32.805,0.805,34.44,2.255), (10.38,4,11.47,5.64), (14.875,4,15.965,5.64), (17.45,4,18.54,5.64), (12.89,7.75,14.39,9.75)])
R(bootstrap_switch, TopVia1, [(2.28,-18.6,2.7,-18.18), (14.665,-18.6,15.085,-18.18), (10.43,-18.595,10.85,-18.175), (6.87,-14.535,7.29,-14.115), (24.99,1.3,25.41,1.72), (33.45,1.345,33.87,1.765), (39.59,1.38,40.01,1.8), (10.72,4.685,11.14,5.105), (15.215,4.685,15.635,5.105), (17.79,4.685,18.21,5.105), (13.425,8.505,13.845,8.925)])
R(bootstrap_switch, TopMetal1, [(1.54,-19.355,3.445,-17.355), (13.925,-19.355,15.83,-17.355), (9.69,-19.35,11.595,-17.35), (-1.265,-15.22,0.375,5.64), (-0.745,-15.22,44.79,-13.58), (44.29,-15.22,45.93,5.64), (24.395,-2.755,26.035,2.245), (38.975,-2.75,40.615,2.25), (32.8,-2.745,34.44,2.255), (-0.745,4,44.79,5.64), (12.685,7.75,14.59,9.75)])
R(bootstrap_switch, TopMetal1_pin, [(-1.2,0.03,0.31,1.51)])
R(bootstrap_switch, TopVia2, [(2.04,-18.84,2.94,-17.94), (14.425,-18.84,15.325,-17.94), (10.19,-18.835,11.09,-17.935), (13.185,8.265,14.085,9.165)])
R(bootstrap_switch, TopMetal2, [(-5.39,-19.365,-3.39,9.74), (-3.705,-19.35,49.29,-17.35), (48.045,-19.35,50.045,9.755), (-3.705,7.75,49.29,9.75)])
R(bootstrap_switch, TopMetal2_pin, [(-5.315,0.015,-3.49,1.495)])
bootstrap_switch.add(gdstk.FlexPath([(9.35,-7.155),(9.35,-5.405),(8.05,-5.405)], 0.2, ends="flush", simple_path=True, layer=8, datatype=0))  # Metal1
bootstrap_switch.add(gdstk.Reference(nmos_2, (16.565,-1.75), rotation=pi, x_reflection=True))
bootstrap_switch.add(gdstk.Reference(cmim_1, (35.815,-7.59), rotation=pi, x_reflection=True))
bootstrap_switch.add(gdstk.Reference(cmim_1, (42.175,-7.59), rotation=pi, x_reflection=True))
bootstrap_switch.add(gdstk.Reference(cmim, (29.495,-7.59), rotation=pi, x_reflection=True))
bootstrap_switch.add(gdstk.Reference(nmos_2, (15.11,-1.75), rotation=pi, x_reflection=True))
bootstrap_switch.add(gdstk.Reference(nmos_2, (18.075,-1.75), rotation=pi, x_reflection=True))
bootstrap_switch.add(gdstk.Reference(pmos_3, (7.47,-0.75), rotation=pi, x_reflection=True))
bootstrap_switch.add(gdstk.Reference(pmos_2, (11.49,-0.75), rotation=pi, x_reflection=True))
bootstrap_switch.add(gdstk.Reference(inverter2, (-10.005,6.845)))
bootstrap_switch.add(gdstk.Reference(inverter, (22.395,9.58)))
bootstrap_switch.add(gdstk.Reference(nmos_4, (7.47,-8.78), rotation=pi, x_reflection=True))
bootstrap_switch.add(gdstk.Reference(nmos_4, (8.55,-8.78), rotation=pi, x_reflection=True))
bootstrap_switch.add(gdstk.Reference(nmos_3, (9.89,-8.78), rotation=pi, x_reflection=True))
bootstrap_switch.add(gdstk.Reference(nmos_5, (11.425,-6.35), rotation=pi, x_reflection=True))
bootstrap_switch.add(gdstk.Reference(nmos_5, (12.455,-6.35), rotation=pi, x_reflection=True))
bootstrap_switch.add(gdstk.Reference(nmos_7, (4.475,-8.79), rotation=pi, x_reflection=True))
bootstrap_switch.add(gdstk.Reference(nmos_4, (5.875,-8.79), rotation=pi, x_reflection=True))
bootstrap_switch.add(gdstk.Label('vi', (-6.565,-6.98), layer=30, texttype=25))
bootstrap_switch.add(gdstk.Label('clk', (19.065,-20.89), layer=30, texttype=25))
bootstrap_switch.add(gdstk.Label('vo', (-6.58,-7.745), layer=10, texttype=25))
bootstrap_switch.add(gdstk.Label('vdd', (-0.17,0.7), layer=126, texttype=25))
bootstrap_switch.add(gdstk.Label('gnd', (-4.22,0.7), layer=134, texttype=25))

lib.write_gds('bootstrap_switch.gds')
